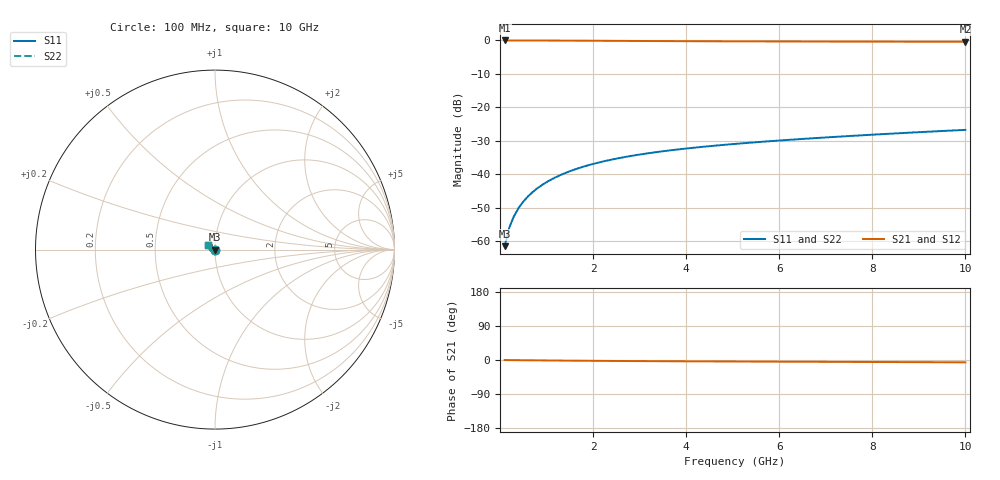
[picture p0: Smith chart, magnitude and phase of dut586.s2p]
! Touchstone file exported from HFSS 2024.1.0
!  File:  C:/UserFiles/LocalFiles/RDL_TSV_Batchsim/temp_TSV1_586_1779709705.aedt
!  Generated:  07:56:27 PM May 25, 2026
!  Design:  TSV1
!  Project:  temp_TSV1_586_1779709705
!  Setup:  Setup1
!  Solution:  Sweep
! Variables:
!  dtsv = 6.74um
!  hbump = 3um
!  htsv = 91.41um
!  lrdl = 252.1521522um
!  p = 40
!  p1 = 55.76um
!  t = 500um
!  trdl = 3um
!  wrdl = 24.89489489um
# GHz S MA R 50.000000
! Terminal data exported
! Port[1] = TSV22_T1
! Port[2] = TSV22_T2
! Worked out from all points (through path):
!   100 points, 100 MHz to 10 GHz, reference 50 ohm
!   highest |S21| = 0.00 dB at 100 MHz (marker M1); lowest = -0.4 dB at 10 GHz (marker M2)
!   lowest |S11| = -61.5 dB at 100 MHz (marker M3), VSWR 1.00, Z = 50 - j0.0784 ohm
!   |S11| at or under -10 dB: start of sweep to end of sweep
!   |S22| runs from -61.5 to -26.7 dB; largest |S21 - S12| = 8.4e-15
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0.1  0.0008435 -68.3  0.9996 -0.1  0.9996 -0.1  0.0008435 -68.3
! Gamma 0 0 0 0
! Port Impedance 50 0 50 0
0.2  0.001594 -82.2  0.9995 -0.2  0.9995 -0.2  0.001594 -82.2
0.3  0.002361 -88.5  0.9993 -0.4  0.9993 -0.4  0.002361 -88.5
0.4  0.00313 -92.9  0.9991 -0.5  0.9991 -0.5  0.00313 -92.9
0.5  0.003896 -96.4  0.9988 -0.6  0.9988 -0.6  0.003896 -96.4
0.6  0.004657 -99.5  0.9985 -0.7  0.9985 -0.7  0.004657 -99.5
0.7  0.005411 -102.4  0.9981 -0.8  0.9981 -0.8  0.005411 -102.4
0.8  0.006158 -105.1  0.9977 -1.0  0.9977 -1.0  0.006158 -105.1
0.9  0.006896 -107.6  0.9972 -1.1  0.9972 -1.1  0.006896 -107.6
1.1  0.008343 -112.5  0.996 -1.3  0.996 -1.3  0.008343 -112.5
1.4  0.01043 -119.4  0.9941 -1.6  0.9941 -1.6  0.01043 -119.4
1.6  0.01176 -123.7  0.9927 -1.8  0.9927 -1.8  0.01176 -123.7
1.8  0.01304 -127.9  0.9912 -2.0  0.9912 -2.0  0.01304 -127.9
2.1  0.01487 -133.9  0.9888 -2.2  0.9888 -2.2  0.01487 -133.9
2.5  0.01714 -141.4  0.9857 -2.5  0.9857 -2.5  0.01714 -141.4
2.9  0.01923 -148.3  0.9826 -2.8  0.9826 -2.8  0.01923 -148.3
3.4  0.02163 -156.2  0.979 -3.1  0.979 -3.1  0.02163 -156.2
4.2  0.02509 -167.5  0.974 -3.6  0.974 -3.6  0.02509 -167.5
5.1  0.02863 -178.2  0.9694 -4.0  0.9694 -4.0  0.02863 -178.2
6.7  0.03447 166.4  0.9635 -4.7  0.9635 -4.7  0.03447 166.4
8.4  0.04046 153.8  0.9593 -5.4  0.9593 -5.4  0.04046 153.8
10  0.04611 144.6  0.9565 -6.1  0.9565 -6.1  0.04611 144.6
